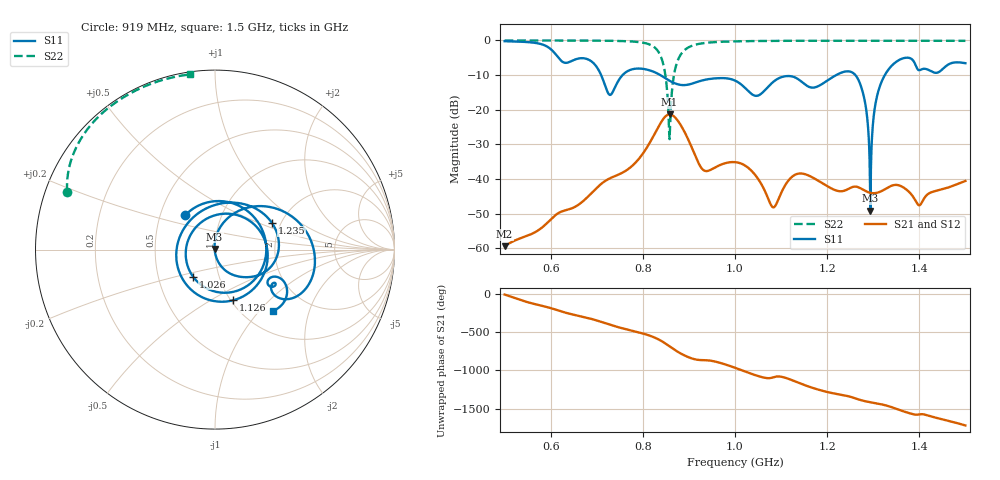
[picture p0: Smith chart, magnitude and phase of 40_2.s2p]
! TOUCHSTONE file generated by CST MICROWAVE STUDIO
! Date and time: Mon Nov 30 09:13:29 2020
! Project name: Scenario_1_Planar_Body_Tissue_Out_of_Line_v2.cst
! Parameters = {dy1=328.7; L_HA=400; Ltissue=700; MT=2.54; Rad_Dielectric=30; Rad_Lower=7.3; Rad_Upper=30; Wtissue=700; a_HA=580; a_WG=246; b_HA=500; b_WG=121; c_HA=0; c_WG=187; d_feed=85; dx1=346; h_feed=15; h_lower=18; h_upper=40; hfat=3; hgap=25; hmuscle=50; hskin=1.5}
! Header version: 2018
! Port assignment regex: !\s*Touchstone port\s*([0-9]+)\s*=\s*(CST MWS port|CST DS port)\s*([0-9]+|Zmin|Zmax)\s*\(\"(.*)\"\)(\s*mode\s*([0-9]+))?.*
! Touchstone port assignment:
! Touchstone port 1 = CST MWS port 1 ("")
! Touchstone port 2 = CST MWS port 2 ("")
# GHz S DB R 50
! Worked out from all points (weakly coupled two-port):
!   1003 points, 500 MHz to 1.5 GHz, reference 50 ohm
!   highest |S21| = -21.34 dB at 858 MHz (marker M1); lowest = -59.4 dB at 500 MHz (marker M2)
!   lowest |S11| = -49.1 dB at 1.294 GHz (marker M3), VSWR 1.01, Z = 49.8 + j0.279 ohm
!   |S11| at or under -10 dB: 709.4 MHz to 756 MHz (46.54 MHz wide, 6.35 % of centre); 838 MHz to 1.22 GHz (381.6 MHz wide, 37.1 % of centre); 1.261 GHz to 1.325 GHz (63.89 MHz wide, 4.94 % of centre)
!   |S22| runs from -28.5 to 0.0 dB; largest |S21 - S12| = 8e-05
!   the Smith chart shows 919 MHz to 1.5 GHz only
!   S11 on the Smith chart (normalised r, x): 919 MHz: 0.67, +0.28; 1.026 GHz: 0.75, -0.23; 1.126 GHz: 1.02, -0.64; 1.235 GHz: 1.80, +0.61; 1.5 GHz: 1.35, -1.18
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0.5  -0.22 -121.7  -59.37 -13.0  -59.37 -13.0  -0.01 151.2
0.577  -0.98 -164.1  -54.41 -154.0  -54.41 -153.9  -0.02 145.9
0.667  -5.12 152.5  -46.74 61.8  -46.74 61.8  -0.04 138.4
0.716  -12.23 39.8  -40.75 -21.4  -40.75 -21.4  -0.09 132.9
0.742  -12.85 -111.0  -39.00 -70.3  -39.00 -70.3  -0.14 129.0
0.773  -8.49 167.7  -36.63 -118.4  -36.64 -118.4  -0.28 122.4
0.834  -9.71 38.1  -24.89 123.3  -24.89 123.3  -3.32 83.5
0.858  -11.64 -29.8  -21.34 32.0  -21.34 32.0  -28.50 -56.9
0.877  -12.70 -92.5  -23.38 -42.5  -23.38 -42.5  -5.39 -168.4
0.919  -11.93 130.7  -34.88 -142.5  -34.88 -142.5  -1.07 158.7
1  -11.57 -57.6  -35.12 114.0  -35.09 114.1  -0.27 140.3
1.026  -14.25 -129.3  -36.48 56.0  -36.47 55.9  -0.21 137.1
1.083  -11.97 38.7  -48.16 -10.4  -48.15 -10.4  -0.13 131.3
1.126  -10.46 -70.5  -39.11 -52.5  -39.13 -52.4  -0.11 127.5
1.167  -13.61 158.4  -39.45 -145.1  -39.46 -145.1  -0.10 124.2
1.235  -9.11 25.0  -43.44 117.4  -43.44 117.4  -0.09 119.0
1.273  -13.07 -43.7  -42.71 53.1  -42.70 53.0  -0.08 116.2
1.294  -49.12 126.7  -43.99 24.9  -43.99 24.9  -0.08 114.6
1.308  -16.21 73.0  -43.96 9.7  -43.96 9.7  -0.08 113.5
1.334  -8.24 37.8  -42.28 -27.3  -42.28 -27.3  -0.09 111.6
1.387  -5.87 -32.2  -45.21 -130.8  -45.21 -130.8  -0.09 107.4
1.5  -6.57 -46.8  -40.55 83.1  -40.55 83.1  -0.13 98.0
